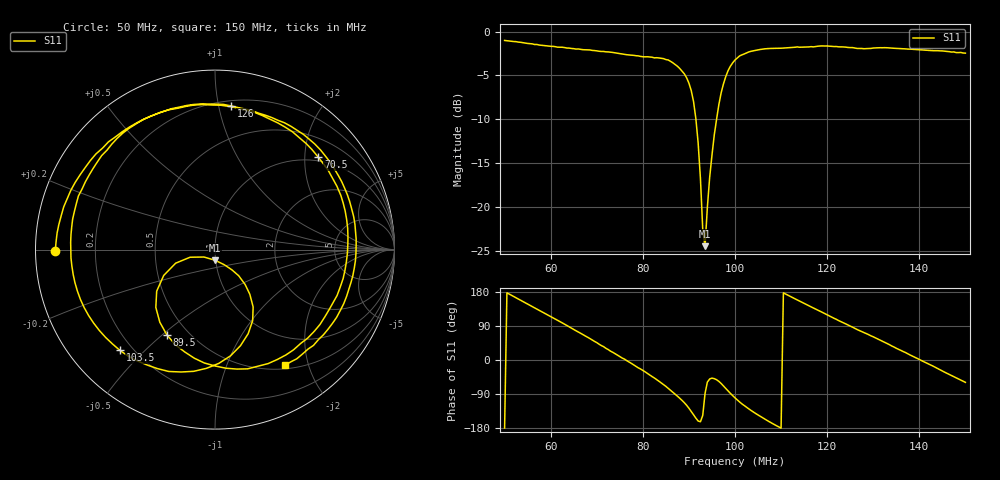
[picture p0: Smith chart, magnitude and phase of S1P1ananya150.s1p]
!Siglent,SMS1032XV,SVA3XA08C00002,6.0R10
!Date: 2025-11-19 04:44:48
!Data & Calibration Information:
!Freq	S11:(---)
# Hz S DB R 50
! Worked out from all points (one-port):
!   201 points, 50 MHz to 150 MHz, reference 50 ohm
!   lowest |S11| = -24.5 dB at 93.5 MHz (marker M1), VSWR 1.13, Z = 49.8 - j5.97 ohm
!   |S11| at or under -10 dB: 91.52 MHz to 96 MHz (4.487 MHz wide, 4.79 % of centre)
!   S11 on the Smith chart (normalised r, x): 50 MHz: 0.06, -0.00; 70.5 MHz: 0.91, +2.32; 89.5 MHz: 0.38, -0.52; 103.5 MHz: 0.15, -0.42; 126 MHz: 0.24, +1.09; 150 MHz: 0.55, -1.63
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5e7  -1.01 -179.4
5.7e7  -1.47 134.7
6.25e7  -1.79 98.1
6.6e7  -1.98 73.9
7.05e7  -2.25 41.8
7.5e7  -2.52 9.0
8.1e7  -2.87 -35.5
8.45e7  -3.09 -65.0
8.75e7  -3.95 -95.4
8.95e7  -5.27 -119.5
9.15e7  -9.90 -153.3
9.25e7  -16.76 -163.0
9.3e7  -22.59 -146.1
9.35e7  -24.48 -88.3
9.45e7  -16.64 -50.1
9.65e7  -8.32 -56.4
9.8e7  -5.13 -75.2
1e8  -3.24 -99.9
1.035e8  -2.25 -133.3
1.075e8  -1.93 -163.3
1.125e8  -1.81 164.8
1.195e8  -1.65 122.3
1.25e8  -1.83 89.5
1.26e8  -1.88 83.6
1.315e8  -1.84 52.5
1.375e8  -2.00 16.4
1.435e8  -2.18 -19.5
1.5e8  -2.46 -59.0
